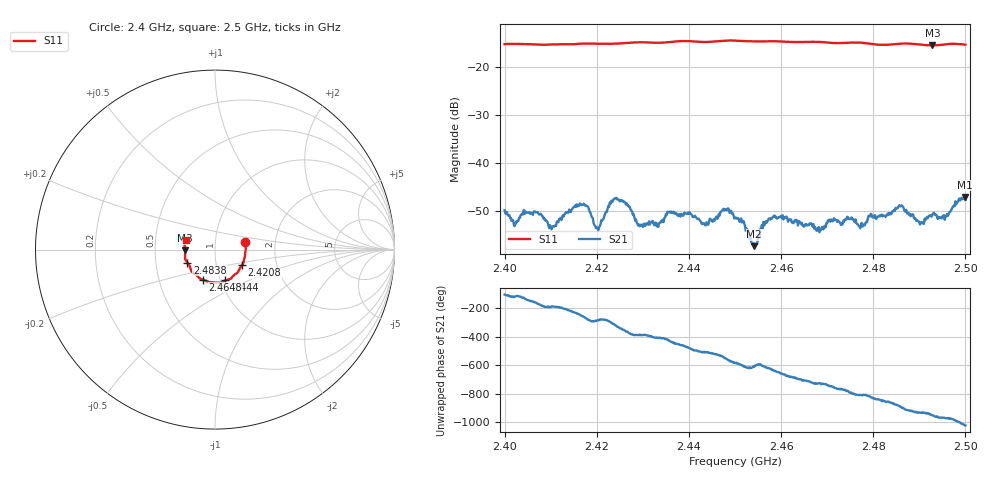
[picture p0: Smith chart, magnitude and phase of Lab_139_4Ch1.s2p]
# Hz S RI R 50
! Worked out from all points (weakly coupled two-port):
!   601 points, 2.4 GHz to 2.5 GHz, reference 50 ohm
!   highest |S21| = -47.20 dB at 2.4998 GHz (marker M1); lowest = -57.4 dB at 2.4542 GHz (marker M2)
!   lowest |S11| = -15.6 dB at 2.4928 GHz (marker M3), VSWR 1.40, Z = 35.7 - j0.314 ohm
!   |S11| at or under -10 dB: start of sweep to end of sweep
!   S12 and S22 are empty: the file has one direction only
!   S11 on the Smith chart (normalised r, x): 2.4 GHz: 1.39, +0.12; 2.4208 GHz: 1.33, -0.24; 2.444 GHz: 1.05, -0.37; 2.4648 GHz: 0.83, -0.29; 2.4838 GHz: 0.73, -0.11; 2.5 GHz: 0.72, +0.08
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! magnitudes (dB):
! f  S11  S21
! 2.4 GHz  -15.3  -49.9
! 2.4025 GHz  -15.2  -52.3
! 2.4068 GHz  -15.4  -50.4
! 2.4102 GHz  -15.4  -53.9
! 2.4167 GHz  -15.2  -48.9
! 2.4208 GHz  -15.2  -52.8
! 2.4242 GHz  -15.2  -47.4
! 2.4292 GHz  -14.9  -52.9
! 2.4333 GHz  -15.0  -53.4
! 2.4358 GHz  -14.9  -50.2
! 2.444 GHz  -14.9  -52.6
! 2.4477 GHz  -14.6  -50.0
! 2.45 GHz  -14.6  -51.4
! 2.4542 GHz  -14.7  -57.4
! 2.4583 GHz  -14.7  -51.3
! 2.4648 GHz  -14.9  -53.3
! 2.4667 GHz  -14.8  -52.9
! 2.4833 GHz  -15.4  -50.5
! 2.4838 GHz  -15.4  -50.8
! 2.4928 GHz  -15.6  -50.9
! 2.4998 GHz  -15.4  -47.2
! 2.5 GHz  -15.4  -47.8
